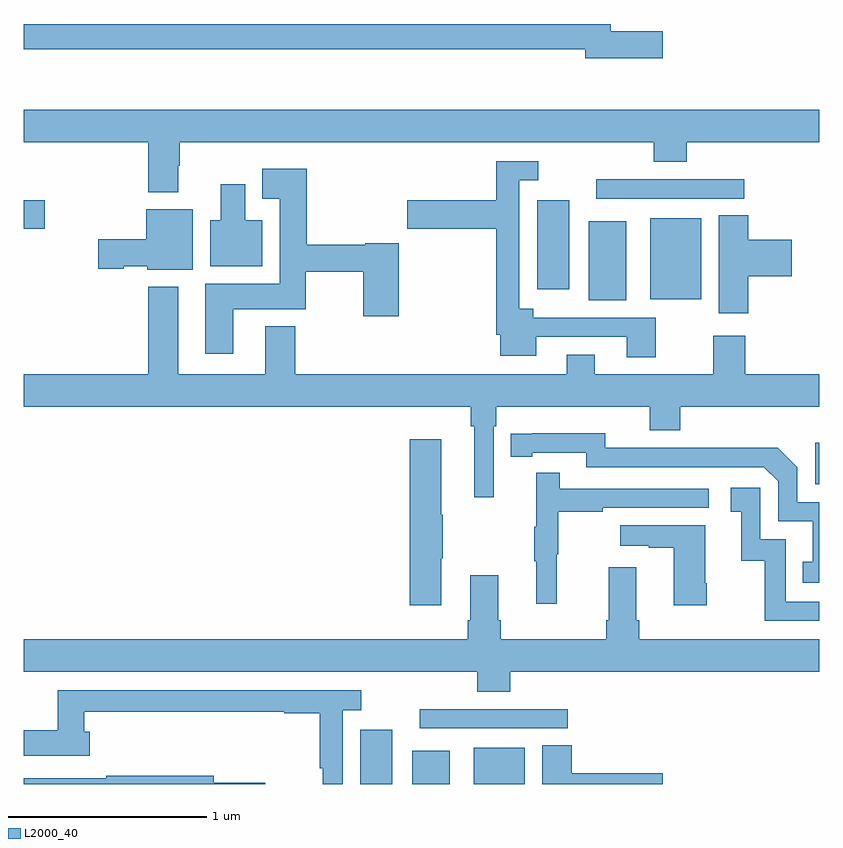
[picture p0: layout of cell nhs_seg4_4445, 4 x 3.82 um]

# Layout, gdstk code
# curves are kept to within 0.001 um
import gdstk
lib = gdstk.Library(unit=1e-6, precision=1e-09)
def R(c, l, rs):  # rectangles x0, y0, x1, y1
    for r in rs: c.add(gdstk.rectangle(r[:2], r[2:], *l))
def P(c, l, *ps):  # polygons
    for p in ps: c.add(gdstk.Polygon(p, *l))
L2000_40 = (2000, 40)

nhs_seg4_4445 = lib.new_cell('nhs_seg4_4445')
R(nhs_seg4_4445, L2000_40, [(350.693,818.9,350.854,819.172), (350.954,818.9,351.142,819.067), (351.263,818.9,351.52,819.082), (350.991,819.18,351.736,819.276), (352.98,820.407,353,820.615), (351.842,821.333,352.03,821.731), (352.151,821.339,352.408,821.746), (351.581,821.388,351.742,821.836), (349,821.693,349.105,821.835), (351.879,821.844,352.624,821.94)])
P(nhs_seg4_4445, L2000_40, [(352.213,822.686),(351.952,822.686),(351.952,822.722),(349,822.722),(349,822.594),(351.824,822.594),(351.824,822.551),(352.213,822.551)],
  [(349.777,822.008),(349.785,822.008),(349.785,822.128),(352.169,822.128),(352.169,822.029),(352.334,822.029),(352.334,822.128),(353,822.128),(353,822.292),(349,822.292),(349,822.128),(349.625,822.128),(349.625,821.876),(349.777,821.876)],
  [(352.179,821.244),(351.562,821.244),(351.562,821.29),(351.492,821.29),(351.492,821.937),(351.586,821.937),(351.586,822.033),(351.376,822.033),(351.376,821.835),(350.928,821.835),(350.928,821.693),(351.376,821.693),(351.376,821.158),(351.395,821.158),(351.395,821.054),(351.577,821.054),(351.577,821.148),(352.031,821.148),(352.031,821.046),(352.179,821.046)],
  [(350.053,821.288),(350.418,821.288),(350.418,821.476),(350.707,821.476),(350.707,821.253),(350.885,821.253),(350.885,821.62),(350.718,821.62),(350.718,821.612),(350.423,821.612),(350.423,821.995),(350.198,821.995),(350.198,821.843),(350.288,821.843),(350.288,821.416),(349.913,821.416),(349.913,821.064),(350.053,821.064)],
  [(350.2,821.734),(350.113,821.734),(350.113,821.917),(349.991,821.917),(349.991,821.734),(349.937,821.734),(349.937,821.504),(350.2,821.504)],
  [(349.849,821.791),(349.616,821.791),(349.616,821.639),(349.374,821.639),(349.374,821.492),(349.503,821.492),(349.503,821.504),(349.62,821.504),(349.62,821.486),(349.849,821.486)],
  [(352.643,821.453),(352.861,821.453),(352.861,821.636),(352.643,821.636),(352.643,821.759),(352.496,821.759),(352.496,821.268),(352.643,821.268)],
  [(351.363,820.7),(351.377,820.7),(351.377,820.796),(352.148,820.796),(352.148,820.679),(352.301,820.679),(352.301,820.796),(353,820.796),(353,820.96),(352.628,820.96),(352.628,821.155),(352.468,821.155),(352.468,820.96),(351.871,820.96),(351.871,821.059),(351.731,821.059),(351.731,820.96),(350.366,820.96),(350.366,821.203),(350.213,821.203),(350.213,820.96),(349.777,820.96),(349.777,821.401),(349.625,821.401),(349.625,820.96),(349,820.96),(349,820.796),(351.247,820.796),(351.247,820.7),(351.266,820.7),(351.266,820.341),(351.363,820.341)],
  [(353,820.317),(352.89,820.317),(352.89,820.494),(352.792,820.592),(352.384,820.592),(352.384,820.59),(351.924,820.59),(351.924,820.663),(351.448,820.662),(351.448,820.546),(351.556,820.546),(351.556,820.566),(351.828,820.566),(351.828,820.494),(352.722,820.494),(352.794,820.422),(352.794,820.221),(352.967,820.221),(352.967,820.017),(352.918,820.017),(352.918,819.912),(353,819.912)],
  [(351.1,820.036),(351.108,820.036),(351.108,820.253),(351.1,820.253),(351.1,820.633),(350.942,820.633),(350.942,819.798),(351.1,819.798)],
  [(351.68,820.056),(351.688,820.056),(351.688,820.27),(351.911,820.27),(351.911,820.29),(352.444,820.29),(352.444,820.386),(351.695,820.386),(351.695,820.465),(351.578,820.465),(351.578,820.193),(351.567,820.193),(351.567,820.019),(351.578,820.019),(351.578,819.807),(351.68,819.807)],
  [(353,819.816),(352.833,819.816),(352.833,820.131),(352.704,820.131),(352.704,820.39),(352.554,820.39),(352.554,820.269),(352.607,820.269),(352.607,820.023),(352.725,820.023),(352.725,819.72),(353,819.72)],
  [(352.434,819.91),(352.426,819.91),(352.426,820.201),(351.999,820.201),(351.999,820.097),(352.142,820.097),(352.142,820.087),(352.268,820.087),(352.268,819.798),(352.434,819.798)],
  [(351.281,819.365),(351.446,819.365),(351.446,819.464),(353,819.464),(353,819.628),(352.094,819.628),(352.094,819.724),(352.081,819.724),(352.081,819.991),(351.941,819.991),(351.941,819.724),(351.929,819.724),(351.929,819.628),(351.398,819.628),(351.398,819.724),(351.385,819.724),(351.385,819.949),(351.245,819.949),(351.245,819.724),(351.233,819.724),(351.233,819.628),(349,819.628),(349,819.464),(351.281,819.464)],
  [(350.604,819.272),(350.698,819.272),(350.698,819.372),(349.171,819.372),(349.171,819.171),(349,819.171),(349,819.041),(349.331,819.041),(349.331,819.163),(349.303,819.163),(349.303,819.264),(350.311,819.264),(350.311,819.256),(350.488,819.256),(350.488,818.979),(350.503,818.979),(350.503,818.9),(350.604,818.9)],
  [(352.213,818.954),(351.755,818.954),(351.755,819.095),(351.608,819.095),(351.608,818.9),(352.213,818.9)],
  [(350.215,818.907),(349.954,818.907),(349.954,818.941),(349.414,818.941),(349.414,818.928),(349,818.928),(349,818.9),(350.215,818.9)])

lib.write_gds('nhs_seg4_4445.gds')
